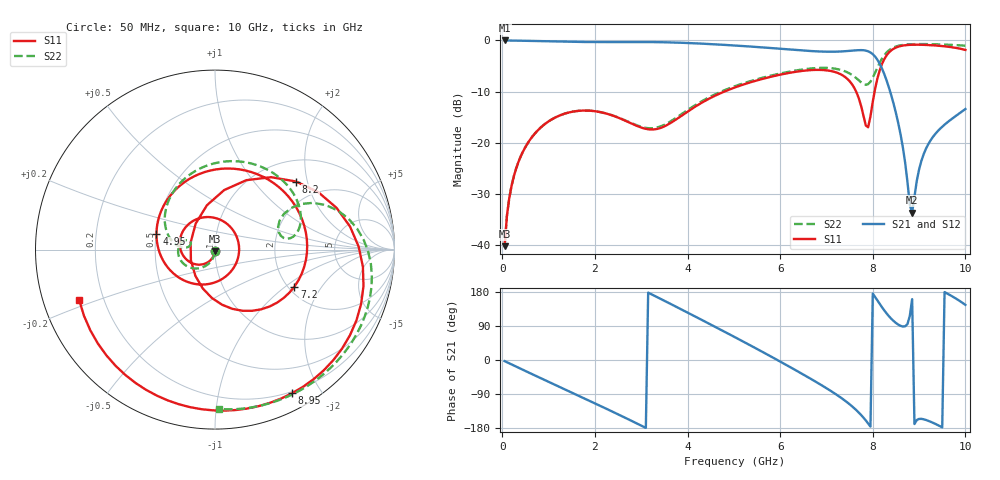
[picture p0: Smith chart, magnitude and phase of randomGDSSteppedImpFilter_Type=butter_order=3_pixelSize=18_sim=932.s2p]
! freq	dB(S11)	phase(S11)	dB(S12)	phase(S12)
!  dB(S21)	phase(S21)	dB(S22)	phase(S22)
!S-par simulation data
#  GHz  S  DB  R 50
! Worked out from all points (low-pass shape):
!   200 points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, 50 MHz to 10 GHz, reference 50 ohm
!   highest |S21| = -0.01 dB at 50 MHz (marker M1); lowest = -33.7 dB at 8.85 GHz (marker M2)
!   |S21| within 3 dB of the highest: start of sweep to 8.033 GHz
!   lowest |S11| = -40.3 dB at 50 MHz (marker M3), VSWR 1.02, Z = 49.9 - j0.969 ohm
!   |S11| at or under -10 dB: start of sweep to 4.796 GHz; 7.64 GHz to 8.04 GHz (399.9 MHz wide, 5.1 % of centre)
!   |S22| runs from -40.2 to -0.7 dB; largest |S21 - S12| = 0
!   S11 on the Smith chart (normalised r, x): 50 MHz: 1.00, -0.02; 4.95 GHz: 0.50, +0.10; 7.2 GHz: 2.16, -1.17; 8.2 GHz: 1.47, +1.71; 8.95 GHz: 0.18, -1.66; 10 GHz: 0.11, -0.18
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0.05  -40.25 -93.1  -0.01 -2.9  -0.01 -2.9  -40.25 -92.3
0.2  -28.44 -103.3  -0.02 -11.7  -0.02 -11.7  -28.43 -100.2
0.5  -20.85 -123.4  -0.08 -29.0  -0.08 -29.0  -20.83 -115.6
1.15  -15.05 -166.7  -0.22 -66.2  -0.22 -66.2  -15.04 -147.1
1.75  -13.72 151.4  -0.31 -100.2  -0.31 -100.2  -13.72 -173.1
2.65  -15.68 73.7  -0.31 -152.2  -0.31 -152.2  -15.62 161.4
3.4  -17.18 -27.7  -0.34 162.5  -0.34 162.5  -16.88 172.1
4.2  -12.76 -126.2  -0.58 112.6  -0.58 112.6  -12.47 169.8
4.95  -9.44 165.3  -0.96 64.9  -0.96 64.9  -9.19 142.9
5.05  -9.11 156.8  -1.01 58.5  -1.01 58.5  -8.86 138.6
5.85  -7.00 89.5  -1.52 6.0  -1.52 6.0  -6.78 101.0
6.7  -5.79 19.3  -2.10 -52.4  -2.10 -52.4  -5.46 55.7
7.2  -6.23 -25.0  -2.20 -90.1  -2.20 -90.1  -5.55 27.7
7.6  -9.27 -73.7  -1.96 -127.2  -1.96 -127.2  -7.07 9.5
7.9  -16.99 163.8  -2.13 -167.5  -2.13 -167.5  -8.55 19.8
8.2  -4.59 40.0  -5.52 139.1  -5.52 139.1  -3.55 21.9
8.35  -2.35 9.7  -9.26 115.4  -9.26 115.4  -1.93 8.3
8.6  -1.10 -26.6  -18.39 90.2  -18.39 90.2  -0.95 -13.3
8.85  -0.85 -52.7  -33.68 160.6  -33.68 160.6  -0.73 -30.7
8.95  -0.83 -61.8  -27.51 -158.5  -27.51 -158.5  -0.71 -36.8
9.5  -1.11 -107.4  -16.88 -177.6  -16.88 -177.6  -0.80 -65.8
10  -1.86 -159.7  -13.42 145.4  -13.42 145.4  -1.03 -88.4
